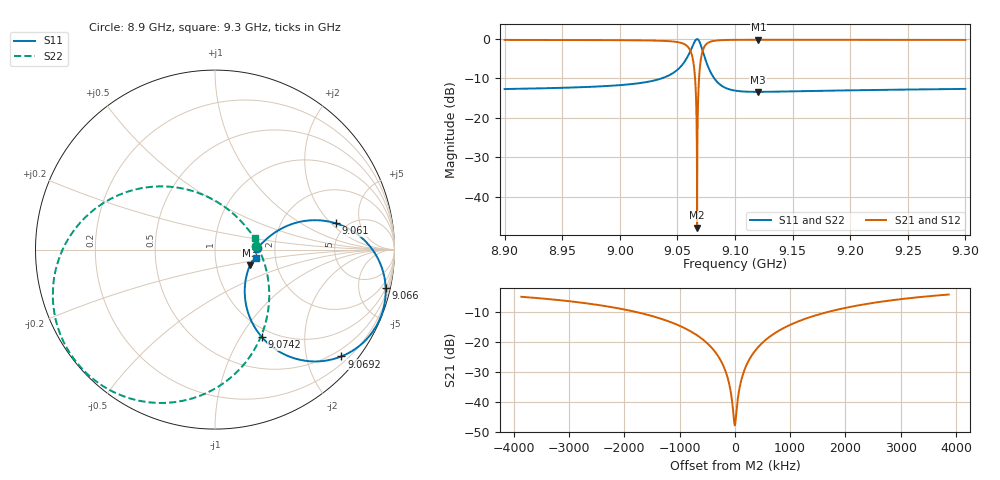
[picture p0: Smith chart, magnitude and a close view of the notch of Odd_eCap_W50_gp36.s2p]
! Sonnet Data File
! From: emgraph Version : 16.52
! From Project: Resonator2_extremeCap2
! Data is De-embedded
! Data File Written: 10/11/2017 20:35:05
!< HDATE 10/11/2017 16:33:44
!< MDATE 10/11/2017 16:33:44
!< PARAMS
!< Pwid1 = 2000.0
!< Pwid2 = 2000.0
!< Air_gap = 30.0
!< Width = 50.0
!< Gap = 36.0
!< END PARAMS
# GHZ S MA R 47.40000
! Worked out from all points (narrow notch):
!   2193 points, 8.9 GHz to 9.3 GHz, reference 47.4 ohm
!   highest |S21| = -0.20 dB at 9.1203 GHz (marker M1); lowest = -47.8 dB at 9.0671 GHz (marker M2)
!   notch at M2: 47.6 dB deep, 647 kHz wide at half that depth
!   lowest |S11| = -13.4 dB at 9.12 GHz (marker M3), VSWR 1.54, Z = 69 - j12.7 ohm
!   |S11| at or under -10 dB: start of sweep to 9.0362 GHz; 9.0821 GHz to end of sweep
!   |S22| runs from -13.4 to 0.0 dB; largest |S21 - S12| = 0
!   S11 on the Smith chart (normalised r, x): 8.9 GHz: 1.60, +0.03; 9.061 GHz: 4.11, +2.29; 9.066 GHz: 1.08, -8.95; 9.0692 GHz: 0.34, -2.69; 9.0742 GHz: 0.89, -1.24; 9.3 GHz: 1.58, -0.15
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8.9  0.232 2.3  0.9727 -86.1  0.9727 -86.1  0.232 5.4
!< P1 F=8.9 Eeff=(5.03074334 -2.1789e-5) Z0=(47.3979938 1.04427e-4) R=0.0 C=0.0
!< P2 F=8.9 Eeff=(5.03074334 -2.1789e-5) Z0=(47.3979938 1.04427e-4) R=0.0 C=0.0
8.96675  0.2449 4.3  0.9695 -88.0  0.9695 -88.0  0.2449 -0.4
9.0335  0.3075 13.1  0.9515 -94.2  0.9515 -94.2  0.3074 -21.6
9.05075  0.4157 18.1  0.9092 -102.6  0.9092 -102.6  0.4153 -43.5
9.061  0.6897 12.2  0.7225 -123.4  0.7225 -123.4  0.6887 -79.4
9.064246  0.8823 -0.5  0.4659 -142.4  0.4659 -142.4  0.8809 -105.1
9.065969  0.9741 -12.6  0.2123 -157.7  0.2123 -157.7  0.9725 -124.9
9.066738  0.9942 -19.1  0.07192 -163.9  0.07192 -163.9  0.9925 -135.0
9.066928  0.9961 -20.8  0.03563 -162.7  0.03563 -162.7  0.9944 -137.6
9.067113  0.9967 -22.4  0.004065 -77.3  0.004065 -77.3  0.995 -140.2
9.067335  0.9958 -24.4  0.04366 0.8  0.04366 0.8  0.994 -143.2
9.067654  0.9911 -27.3  0.1057 0.3  0.1057 0.3  0.9893 -147.7
9.069161  0.9217 -40.2  0.3801 -14.8  0.3801 -14.8  0.92 -168.2
9.071522  0.7372 -54.6  0.6727 -35.1  0.6727 -35.1  0.7357 164.9
9.07425  0.5533 -61.8  0.8315 -49.9  0.8315 -49.9  0.5522 142.5
9.083  0.3031 -56.8  0.9526 -68.7  0.9526 -68.7  0.3026 99.6
9.1  0.2216 -35.9  0.975 -78.0  0.975 -78.0  0.2214 59.9
9.12  0.2137 -24.2  0.9769 -81.5  0.9769 -81.5  0.2136 41.2
9.12025  0.2137 -24.1  0.9769 -81.5  0.9769 -81.5  0.2136 41.1
9.16675  0.2193 -15.4  0.9757 -84.6  0.9757 -84.6  0.2193 26.2
9.2335  0.2271 -12.2  0.9739 -86.5  0.9739 -86.5  0.2271 19.2
9.3  0.233 -11.4  0.9725 -87.8  0.9725 -87.8  0.233 15.9
